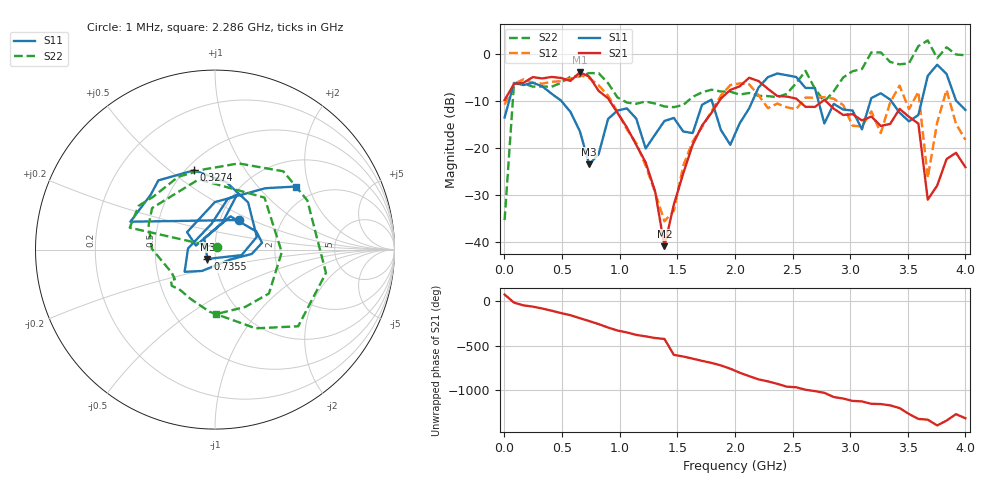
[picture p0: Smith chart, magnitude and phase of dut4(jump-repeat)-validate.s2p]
!Created with skrf (http://scikit-rf.org).
# GHz S DB R 50.0
!freq dBS11 angS11 dBS21 angS21 dBS12 angS12 dBS22 angS22
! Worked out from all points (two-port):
!   50 points, 1 MHz to 4 GHz, reference 50 ohm
!   highest |S21| = -3.84 dB at 653.9 MHz (marker M1); lowest = -41.0 dB at 1.388 GHz (marker M2)
!   |S21| within 3 dB of the highest: 69.82 MHz to 791.8 MHz (722 MHz wide, 168 % of centre); 2.039 GHz to 2.261 GHz (222.3 MHz wide, 10.3 % of centre)
!   lowest |S11| = -23.5 dB at 735.5 MHz (marker M3), VSWR 1.14, Z = 45.7 - j4.76 ohm
!   |S11| at or under -10 dB: 495.5 MHz to 1.771 GHz (1.275 GHz wide, 113 % of centre); 1.801 GHz to 2.151 GHz (350.3 MHz wide, 17.7 % of centre); 2.725 GHz to 3.176 GHz (450.9 MHz wide, 15.3 % of centre)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
!   |S22| runs from -35.4 to 3.0 dB; largest |S21 - S12| = 0.46
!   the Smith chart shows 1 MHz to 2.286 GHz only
!   S11 on the Smith chart (normalised r, x): 1 MHz: 1.23, +0.42; 327.4 MHz: 0.55, +0.61; 735.5 MHz: 0.91, -0.10; 2.286 GHz: 1.58, +1.66
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0.001  -13.46 51.0  -9.73 69.4  -10.73 -26.9  -35.38 45.8
0.08261224  -6.08 161.8  -6.30 -20.6  -6.28 -22.5  -6.19 165.6
0.327449  -6.80 104.8  -5.14 -86.4  -6.24 -85.8  -6.85 116.8
0.653898  -16.39 -11.8  -3.84 165.7  -4.42 164.5  -4.69 28.1
0.7355102  -23.50 -129.1  -4.74 133.2  -5.02 116.1  -3.99 -11.9
0.8987347  -13.79 65.0  -9.38 61.4  -8.81 62.1  -6.13 -62.6
1.225184  -20.10 -35.0  -23.07 -36.9  -23.77 -30.0  -10.05 -139.9
1.388408  -14.21 -140.8  -40.97 -66.2  -35.65 -107.8  -11.12 -143.5
1.796469  -9.65 68.2  -12.47 27.2  -12.15 32.9  -7.54 146.5
1.959694  -19.30 168.0  -7.59 -37.5  -6.55 -48.2  -7.96 46.4
2.041306  -14.72 148.0  -6.81 -82.4  -6.18 -90.0  -8.58 -2.2
2.286143  -4.85 37.9  -7.35 -178.9  -11.48 177.7  -8.90 -88.7
2.612592  -7.16 -5.1  -11.20 87.6  -9.22 109.4  -3.52 -177.7
2.694204  -7.18 -49.6  -11.21 72.6  -9.27 95.6  -7.32 -166.1
3.102265  -16.01 166.8  -14.10 -42.6  -15.38 -44.5  -3.12 166.4
3.26549  -8.30 149.8  -15.27 -72.1  -16.78 -61.3  0.44 165.9
3.347102  -9.64 124.1  -14.85 -86.3  -10.26 -94.1  -1.61 147.9
3.428714  -12.44 35.3  -11.63 -116.5  -6.66 -79.0  -2.11 134.5
3.591939  -12.94 166.5  -14.78 122.4  -7.97 157.2  1.77 135.4
3.673551  -4.57 92.8  -31.02 114.0  -26.36 14.9  2.99 140.9
3.836776  -4.18 66.1  -22.35 103.9  -7.60 -144.8  1.53 94.0
4  -11.86 8.0  -24.09 129.9  -18.22 58.3  -0.19 62.6
